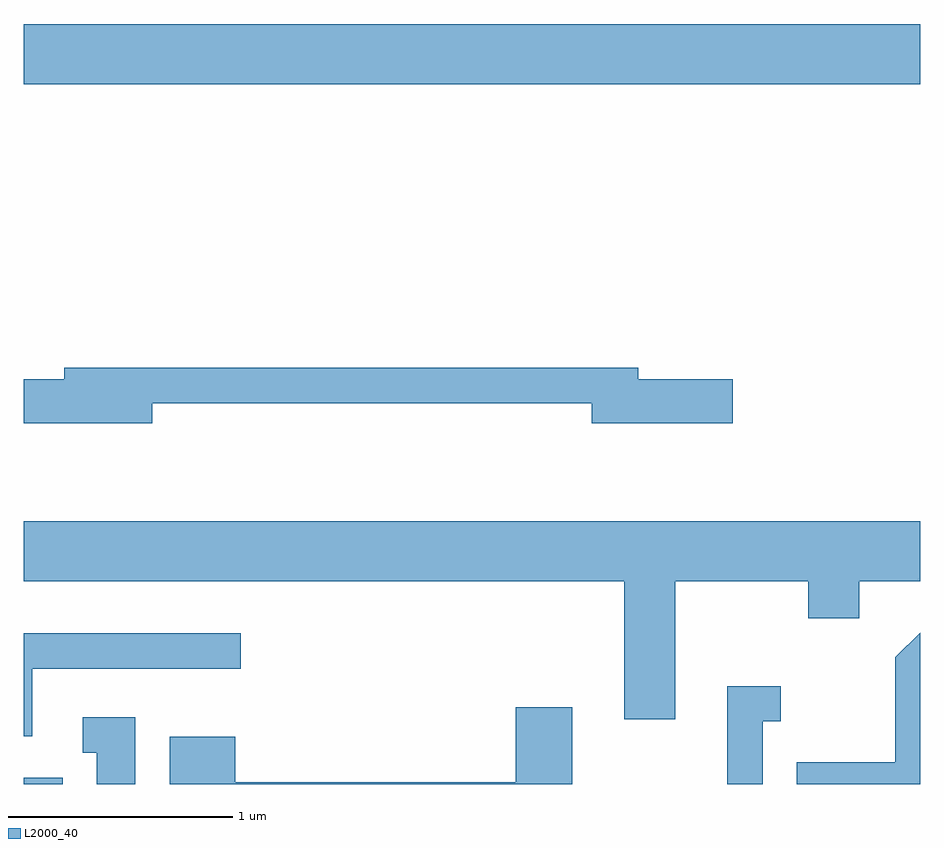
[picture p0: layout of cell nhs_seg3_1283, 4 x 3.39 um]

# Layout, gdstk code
import gdstk
lib = gdstk.Library(unit=1e-6, precision=1e-09)
def R(c, l, rs):  # rectangles x0, y0, x1, y1
    for r in rs: c.add(gdstk.rectangle(r[:2], r[2:], *l))
def P(c, l, *ps):  # polygons
    for p in ps: c.add(gdstk.Polygon(p, *l))
L2000_40 = (2000, 40)

nhs_seg3_1283 = lib.new_cell('nhs_seg3_1283')
R(nhs_seg3_1283, L2000_40, [(221.611,1233.892,221.784,1233.919), (221.611,1237.016,225.611,1237.284)])
P(nhs_seg3_1283, L2000_40, [(222.184,1235.591),(224.146,1235.591),(224.146,1235.501),(224.774,1235.501),(224.774,1235.699),(224.354,1235.699),(224.354,1235.749),(221.791,1235.749),(221.791,1235.699),(221.611,1235.699),(221.611,1235.501),(222.184,1235.501)],
  [(224.519,1234.796),(225.111,1234.796),(225.111,1234.631),(225.339,1234.631),(225.339,1234.796),(225.611,1234.796),(225.611,1235.064),(221.611,1235.064),(221.611,1234.796),(224.291,1234.796),(224.291,1234.181),(224.519,1234.181)],
  [(225.611,1234.566),(225.501,1234.457),(225.501,1233.989),(225.061,1233.989),(225.061,1233.892),(225.611,1233.892)],
  [(221.649,1234.406),(222.578,1234.406),(222.578,1234.564),(221.611,1234.564),(221.611,1234.106),(221.649,1234.106)],
  [(224.909,1234.171),(224.988,1234.171),(224.988,1234.329),(224.751,1234.329),(224.751,1233.892),(224.909,1233.892)],
  [(224.059,1234.234),(223.806,1234.234),(223.806,1233.899),(222.554,1233.899),(222.554,1234.104),(222.261,1234.104),(222.261,1233.892),(224.059,1233.892)],
  [(222.109,1234.189),(221.873,1234.189),(221.873,1234.031),(221.936,1234.031),(221.936,1233.892),(222.109,1233.892)])

lib.write_gds('nhs_seg3_1283.gds')
